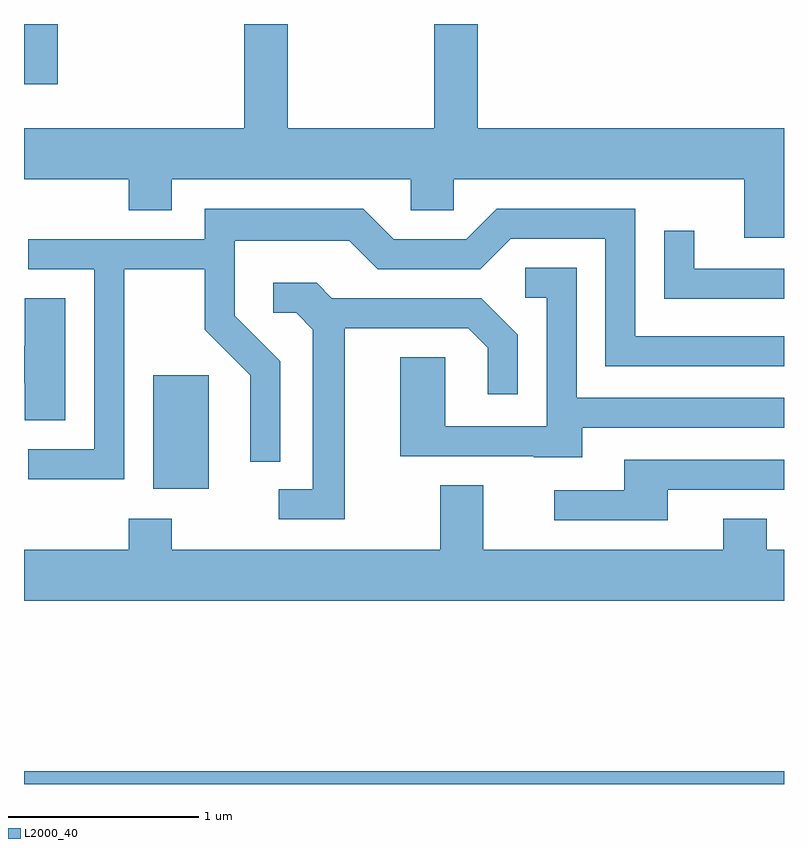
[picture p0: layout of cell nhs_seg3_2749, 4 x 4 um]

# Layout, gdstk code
import gdstk
lib = gdstk.Library(unit=1e-6, precision=1e-09)
def R(c, l, rs):  # rectangles x0, y0, x1, y1
    for r in rs: c.add(gdstk.rectangle(r[:2], r[2:], *l))
def P(c, l, *ps):  # polygons
    for p in ps: c.add(gdstk.Polygon(p, *l))
L2000_40 = (2000, 40)

nhs_seg3_2749 = lib.new_cell('nhs_seg3_2749')
R(nhs_seg3_2749, L2000_40, [(265.611,1173.892,269.611,1173.959), (266.291,1175.446,266.584,1176.044), (265.611,1177.576,265.789,1177.892)])
P(nhs_seg3_2749, L2000_40, [(269.611,1177.344),(267.999,1177.344),(267.999,1177.892),(267.771,1177.892),(267.771,1177.344),(266.999,1177.344),(266.999,1177.892),(266.771,1177.892),(266.771,1177.344),(265.611,1177.344),(265.611,1177.076),(266.161,1177.076),(266.161,1176.911),(266.389,1176.911),(266.389,1177.076),(267.646,1177.076),(267.646,1176.911),(267.874,1176.911),(267.874,1177.076),(269.401,1177.076),(269.401,1176.766),(269.611,1176.766)],
  [(266.139,1176.601),(266.561,1176.601),(266.561,1176.284),(266.801,1176.044),(266.801,1175.588),(266.959,1175.588),(266.959,1176.117),(266.719,1176.357),(266.719,1176.751),(267.324,1176.751),(267.474,1176.601),(268.012,1176.601),(268.172,1176.761),(268.671,1176.761),(268.671,1176.091),(269.611,1176.091),(269.611,1176.249),(268.829,1176.249),(268.829,1176.919),(268.099,1176.919),(267.939,1176.759),(267.557,1176.759),(267.397,1176.919),(266.561,1176.919),(266.561,1176.759),(265.633,1176.759),(265.633,1176.601),(265.981,1176.601),(265.981,1175.654),(265.633,1175.654),(265.633,1175.496),(266.139,1175.496)],
  [(269.611,1176.604),(269.139,1176.604),(269.139,1176.803),(268.981,1176.803),(268.981,1176.446),(269.611,1176.446)],
  [(268.549,1175.766),(269.611,1175.766),(269.611,1175.924),(268.519,1175.924),(268.519,1176.609),(268.248,1176.609),(268.248,1176.451),(268.361,1176.451),(268.361,1175.774),(267.829,1175.774),(267.829,1176.139),(267.591,1176.139),(267.591,1175.616),(268.295,1175.616),(268.295,1175.611),(268.549,1175.611)],
  [(267.299,1176.291),(267.949,1176.291),(268.051,1176.189),(268.051,1175.943),(268.209,1175.943),(268.209,1176.257),(268.017,1176.449),(267.232,1176.449),(267.152,1176.529),(266.923,1176.529),(266.923,1176.371),(267.044,1176.371),(267.131,1176.284),(267.131,1175.444),(266.953,1175.444),(266.953,1175.286),(267.299,1175.286)],
  [(265.829,1176.449),(265.616,1176.449),(265.616,1176.199),(265.611,1176.199),(265.611,1176.001),(265.616,1176.001),(265.616,1175.806),(265.829,1175.806)],
  [(268.999,1175.441),(269.611,1175.441),(269.611,1175.599),(268.771,1175.599),(268.771,1175.439),(268.403,1175.439),(268.403,1175.281),(268.999,1175.281)],
  [(269.611,1175.124),(269.519,1175.124),(269.519,1175.289),(269.291,1175.289),(269.291,1175.124),(268.029,1175.124),(268.029,1175.464),(267.801,1175.464),(267.801,1175.124),(266.389,1175.124),(266.389,1175.289),(266.161,1175.289),(266.161,1175.124),(265.611,1175.124),(265.611,1174.856),(269.611,1174.856)])

lib.write_gds('nhs_seg3_2749.gds')
